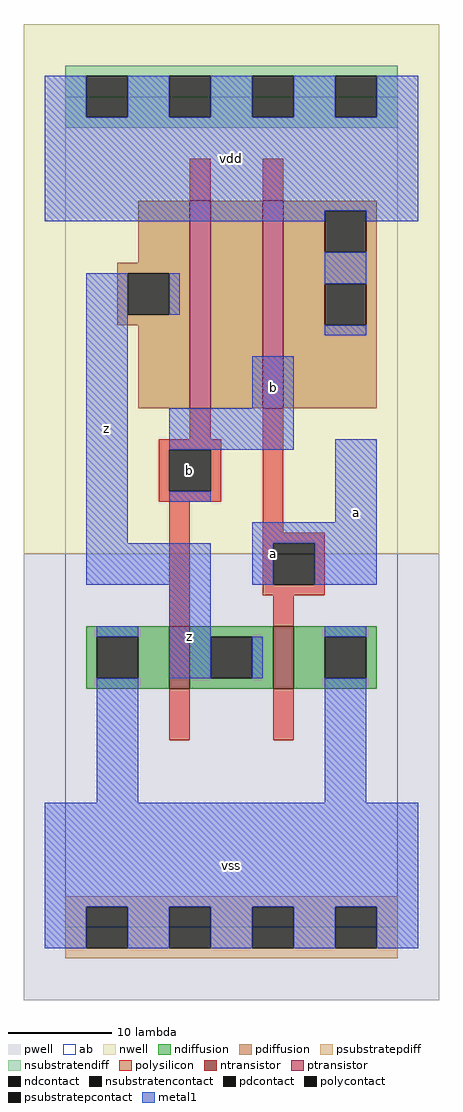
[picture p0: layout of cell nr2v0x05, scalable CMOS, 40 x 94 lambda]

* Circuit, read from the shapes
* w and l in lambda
.subckt nr2v0x05 a b vdd vss z
M1 z b vss vss nfet w=6 l=2
M2 vss a z vss nfet w=6 l=2
M3 n1 b z vdd pfet w=20 l=2
M4 vdd a n1 vdd pfet w=20 l=2
.ends

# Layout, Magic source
magic
tech scmos
<< ab >>
rect 0 0 32 80
<< pwell >>
rect -4 -7 36 36
<< nwell >>
rect -4 36 36 87
<< polysilicon >>
rect 12 70 14 74
rect 19 70 21 74
rect 12 47 14 50
rect 9 46 15 47
rect 9 42 10 46
rect 14 42 15 46
rect 9 41 15 42
rect 10 29 12 41
rect 19 38 21 50
rect 19 37 25 38
rect 19 33 20 37
rect 24 33 25 37
rect 19 32 25 33
rect 20 29 22 32
rect 10 18 12 23
rect 20 18 22 23
<< ndiffusion >>
rect 2 28 10 29
rect 2 24 3 28
rect 7 24 10 28
rect 2 23 10 24
rect 12 28 20 29
rect 12 24 14 28
rect 18 24 20 28
rect 12 23 20 24
rect 22 28 30 29
rect 22 24 25 28
rect 29 24 30 28
rect 22 23 30 24
<< pdiffusion >>
rect 7 64 12 70
rect 5 63 12 64
rect 5 59 6 63
rect 10 59 12 63
rect 5 58 12 59
rect 7 50 12 58
rect 14 50 19 70
rect 21 69 30 70
rect 21 65 25 69
rect 29 65 30 69
rect 21 62 30 65
rect 21 58 25 62
rect 29 58 30 62
rect 21 50 30 58
<< metal1 >>
rect -2 78 2 82
rect 6 78 10 82
rect 14 78 18 82
rect 22 78 26 82
rect 30 78 34 82
rect -2 69 34 78
rect -2 68 25 69
rect 29 68 34 69
rect 2 37 6 63
rect 10 59 11 63
rect 25 62 29 65
rect 25 57 29 58
rect 18 50 22 55
rect 10 46 22 50
rect 10 41 14 42
rect 26 39 30 47
rect 18 37 30 39
rect 2 33 14 37
rect 18 33 20 37
rect 24 33 30 37
rect 3 28 7 29
rect 10 24 14 33
rect 25 28 29 29
rect 18 24 19 28
rect 3 12 7 24
rect 25 12 29 24
rect -2 2 34 12
rect -2 -2 2 2
rect 6 -2 10 2
rect 14 -2 18 2
rect 22 -2 26 2
rect 30 -2 34 2
<< ntransistor >>
rect 10 23 12 29
rect 20 23 22 29
<< ptransistor >>
rect 12 50 14 70
rect 19 50 21 70
<< polycontact >>
rect 10 42 14 46
rect 20 33 24 37
<< ndcontact >>
rect 3 24 7 28
rect 14 24 18 28
rect 25 24 29 28
<< pdcontact >>
rect 6 59 10 63
rect 25 65 29 69
rect 25 58 29 62
<< psubstratepcontact >>
rect 2 -2 6 2
rect 10 -2 14 2
rect 18 -2 22 2
rect 26 -2 30 2
<< nsubstratencontact >>
rect 2 78 6 82
rect 10 78 14 82
rect 18 78 22 82
rect 26 78 30 82
<< psubstratepdiff >>
rect 0 2 32 3
rect 0 -2 2 2
rect 6 -2 10 2
rect 14 -2 18 2
rect 22 -2 26 2
rect 30 -2 32 2
rect 0 -3 32 -2
<< nsubstratendiff >>
rect 0 82 32 83
rect 0 78 2 82
rect 6 78 10 82
rect 14 78 18 82
rect 22 78 26 82
rect 30 78 32 82
rect 0 77 32 78
<< labels >>
rlabel metal1 4 48 4 48 6 z
rlabel metal1 12 28 12 28 6 z
rlabel polycontact 12 44 12 44 6 b
rlabel metal1 16 6 16 6 6 vss
rlabel metal1 20 36 20 36 6 a
rlabel metal1 20 52 20 52 6 b
rlabel metal1 16 74 16 74 6 vdd
rlabel metal1 28 40 28 40 6 a
<< end >>
